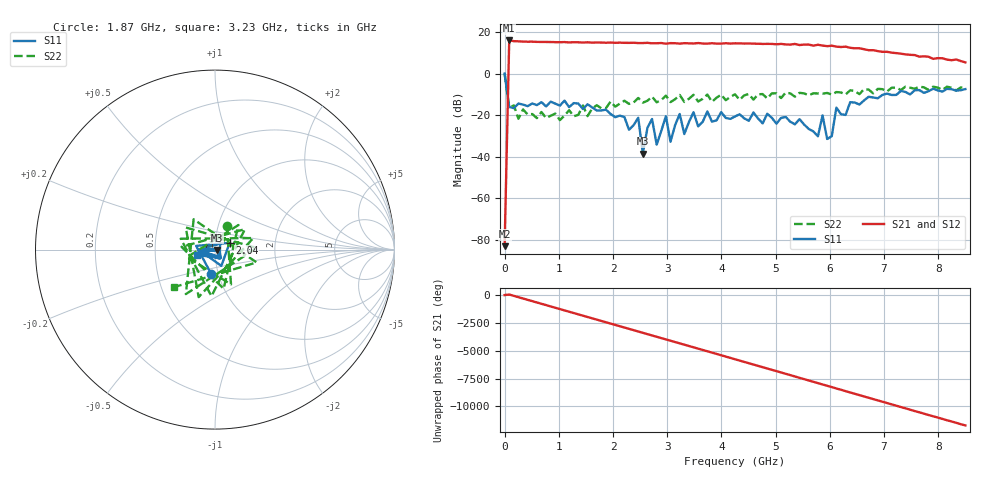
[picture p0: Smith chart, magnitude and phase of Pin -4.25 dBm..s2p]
! RsaToolbox (C) 2013 Rohde & Schwarz America
! Number of points: 101
! Number of ports: 2
! Balanced ports?: 0
# Hz S RI R 50
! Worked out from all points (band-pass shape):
!   101 points, 9 kHz to 8.5 GHz, reference 50 ohm
!   highest |S21| = 16.05 dB at 85.01 MHz (marker M1); lowest = -83.2 dB at 9 kHz (marker M2)
!   |S21| within 3 dB of the highest: 82.44 MHz to 6.133 GHz (6.051 GHz wide, 195 % of centre); 6.280632 GHz to 6.293211 GHz (12.58 MHz wide, 0.2 % of centre)
!   lowest |S11| = -38.5 dB at 2.55 GHz (marker M3), VSWR 1.02, Z = 51.2 - j0.183 ohm
!   |S11| at or under -10 dB: 53.12 MHz to 6.999 GHz (6.946 GHz wide, 197 % of centre); 7.107 GHz to 7.235 GHz (127.7 MHz wide, 1.78 % of centre)
!   |S22| runs from -22.4 to 0.1 dB; largest |S21 - S12| = 0
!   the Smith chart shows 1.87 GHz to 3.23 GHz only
!   S11 on the Smith chart (normalised r, x): 1.87 GHz: 0.92, -0.25; 2.04 GHz: 1.17, +0.09; 3.23 GHz: 0.81, -0.05
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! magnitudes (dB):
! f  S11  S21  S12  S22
! 9 kHz  0.1  -83.2  -83.2  0.1
! 85.01 MHz  -16.0  16.1  16.1  -16.6
! 1.445 GHz  -17.0  15.0  15.0  -15.3
! 1.87 GHz  -17.3  15.0  15.0  -16.6
! 2.04 GHz  -21.0  14.9  14.9  -15.9
! 2.465 GHz  -21.2  14.8  14.8  -11.7
! 2.55 GHz  -38.5  14.8  14.8  -14.0
! 2.72 GHz  -21.8  14.7  14.7  -11.1
! 2.805 GHz  -34.2  14.7  14.7  -13.8
! 2.89 GHz  -27.6  14.8  14.8  -12.7
! 2.975 GHz  -20.5  14.5  14.5  -10.6
! 3.06 GHz  -32.8  14.8  14.8  -13.7
! 3.23 GHz  -19.4  14.5  14.5  -10.2
! 3.315 GHz  -29.1  14.7  14.7  -13.6
! 3.485 GHz  -18.6  14.6  14.6  -10.2
! 4.25 GHz  -20.6  14.7  14.7  -9.9
! 5.695 GHz  -27.8  13.5  13.5  -9.5
! 5.865 GHz  -20.1  13.6  13.6  -9.6
! 5.95 GHz  -31.5  13.3  13.3  -9.3
! 6.12 GHz  -16.4  13.1  13.1  -8.8
! 7.14 GHz  -10.3  10.1  10.1  -6.8
! 8.5 GHz  -7.4  5.5  5.5  -6.7
